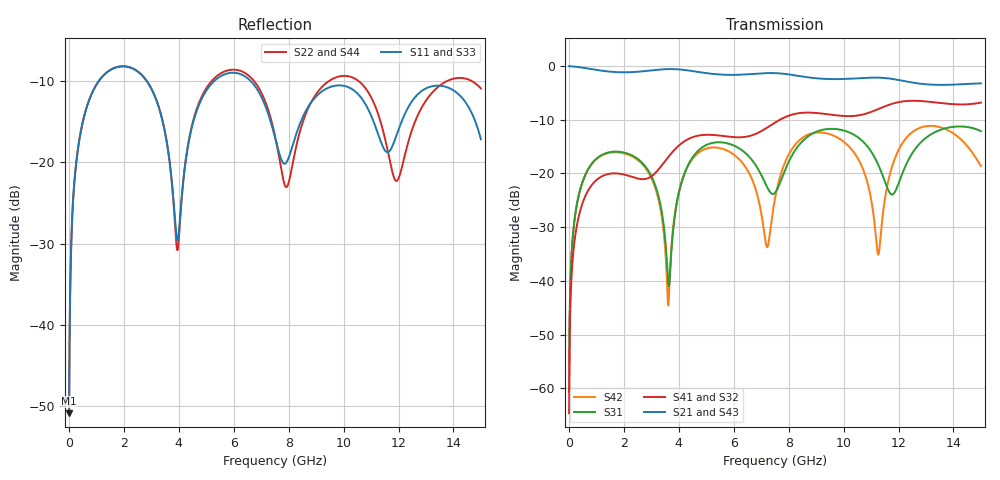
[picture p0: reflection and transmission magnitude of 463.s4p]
! Created with skrf 1.8.0 (http://scikit-rf.org).
# GHz S RI R 50.0
!freq ReS11 ImS11 ReS12 ImS12 ReS13 ImS13
! ReS14 ImS14
! ReS21 ImS21 ReS22 ImS22 ReS23 ImS23
! ReS24 ImS24
! ReS31 ImS31 ReS32 ImS32 ReS33 ImS33
! ReS34 ImS34
! ReS41 ImS41 ReS42 ImS42 ReS43 ImS43
! ReS44 ImS44
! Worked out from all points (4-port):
!   2499 points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, 5 MHz to 15 GHz, reference 50 ohm
!   strongest paths, dB at 5 MHz, 3.476 GHz, 7.19 GHz, 11.1 GHz, 15 GHz:
!     S21: 0.0, -0.6, -1.3, -2.1, -3.2
!     S43: 0.0, -0.6, -1.3, -2.1, -3.2
!     S41: -64.7, -17.9, -11.5, -8.4, -6.8
!     S32: -64.7, -17.9, -11.5, -8.4, -6.8
!     S31: -60.7, -30.8, -22.3, -16.7, -12.1
!     S42: -60.7, -32.4, -33.5, -28.1, -18.6
!   lowest |S11| = -50.9 dB at 5 MHz (marker M1), VSWR 1.01, Z = 50.2 + j0.172 ohm
!   |S11| at or under -10 dB: start of sweep to 1.081 GHz; 2.836 GHz to 5.278 GHz (2.442 GHz wide, 60.2 % of centre); 6.627 GHz to end of sweep
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0.005  0.00227 0.00172  0.9977 -0.0044  0.000117 0.00092  -0.000113 -0.000574
       0.9977 -0.0044  0.00227 0.00172  -0.000113 -0.000574  0.000117 0.00092
       0.000117 0.00092  -0.000113 -0.000574  0.00227 0.00172  0.9977 -0.0044
       -0.000113 -0.000574  0.000117 0.00092  0.9977 -0.0044  0.00227 0.00172
0.2626094  0.0319 0.0937  0.9566 -0.2292  0.0151 0.0449  -0.0124 -0.0275
           0.9566 -0.2292  0.032 0.0937  -0.0124 -0.0275  0.0147 0.045
           0.0151 0.0449  -0.0124 -0.0275  0.0319 0.0937  0.9566 -0.2292
           -0.0124 -0.0275  0.0147 0.045  0.9566 -0.2292  0.032 0.0937
1.169237  0.2829 0.1713  0.5196 -0.7438  0.1364 0.056  -0.0933 -0.00125
          0.5196 -0.7438  0.2843 0.1703  -0.0932 -0.00136  0.1328 0.0612
          0.1364 0.056  -0.0932 -0.00136  0.2829 0.1713  0.5197 -0.7438
          -0.0933 -0.00125  0.1328 0.0612  0.5197 -0.7438  0.2842 0.1703
3.901626  0.033 -0.0163  -0.9287 -0.1025  0.00237 0.0483  -0.014 0.1717
          -0.9287 -0.1025  0.0285 -0.0164  -0.0156 0.1715  -0.000807 0.0504
          0.00237 0.0483  -0.0156 0.1715  0.0334 -0.0156  -0.9287 -0.1025
          -0.014 0.1717  -0.000807 0.0504  -0.9287 -0.1025  0.028 -0.016
7.822009  0.0975 -0.0135  0.8249 0.1945  -0.0349 0.0944  0.0685 -0.3232
          0.8249 0.1945  0.0692 -0.0314  0.0748 -0.3221  -0.00948 0.1181
          -0.0349 0.0944  0.0748 -0.3221  0.0954 -0.0161  0.8245 0.1963
          0.0685 -0.3232  -0.00948 0.1181  0.8245 0.1963  0.0723 -0.0343
11.90496  0.1326 0.0545  -0.7271 -0.1809  -0.0347 0.061  -0.0869 0.4472
          -0.7271 -0.1809  0.0754 -0.0158  -0.1007 0.4441  0.0518 0.1363
          -0.0347 0.061  -0.1007 0.4441  0.125 0.0639  -0.7274 -0.1806
          -0.0869 0.4472  0.0518 0.1363  -0.7274 -0.1806  0.0764 -0.00768
15  0.1121 -0.0818  0.3146 0.6141  -0.0218 -0.2467  0.3784 -0.2561
    0.3146 0.6141  0.2317 -0.1676  0.3874 -0.2383  0.1101 -0.041
    -0.0218 -0.2467  0.3874 -0.2383  0.1094 -0.0919  0.3098 0.6166
    0.3784 -0.2561  0.1101 -0.041  0.3098 0.6166  0.2333 -0.1598
